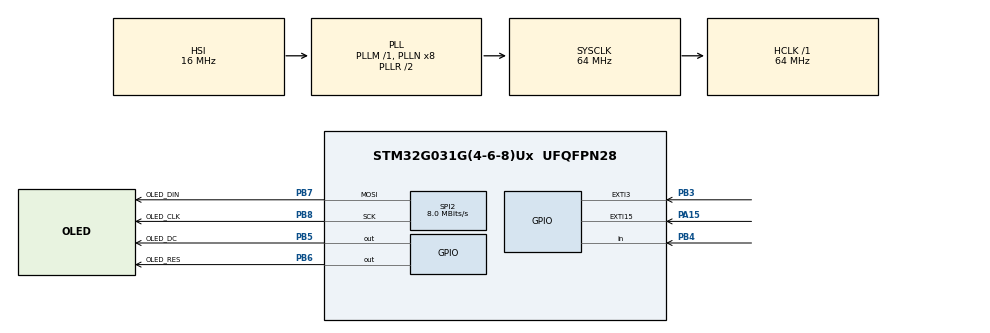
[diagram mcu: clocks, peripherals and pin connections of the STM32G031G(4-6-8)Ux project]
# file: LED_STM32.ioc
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Mcu.Family=STM32G0
Mcu.Name=STM32G031G(4-6-8)Ux
Mcu.Package=UFQFPN28
NVIC.EXTI2_3_IRQn=true\:0\:0\:false\:false\:true\:true\:true\:true
NVIC.EXTI4_15_IRQn=true\:0\:0\:false\:false\:true\:true\:true\:true
NVIC.TIM16_IRQn=true\:0\:0\:false\:false\:true\:true\:true\:true
PA15.GPIO_ModeDefaultEXTI=GPIO_MODE_IT_FALLING
PA15.GPIO_PuPd=GPIO_NOPULL
PA15.Signal=GPXTI15
PB3.GPIO_ModeDefaultEXTI=GPIO_MODE_IT_FALLING
PB3.GPIO_PuPd=GPIO_NOPULL
PB3.Signal=GPXTI3
PB4.GPIO_PuPd=GPIO_NOPULL
PB4.Signal=GPIO_Input
PB5.GPIO_Label=OLED_DC
PB5.Signal=GPIO_Output
PB6.GPIO_Label=OLED_RES
PB6.Signal=GPIO_Output
PB7.GPIO_Label=OLED_DIN
PB7.Mode=TX_Only_Simplex_Unidirect_Master
PB7.Signal=SPI2_MOSI
PB8.GPIO_Label=OLED_CLK
PB8.Mode=TX_Only_Simplex_Unidirect_Master
PB8.Signal=SPI2_SCK
ProjectManager.HeapSize=0x200
ProjectManager.StackSize=0x400
ProjectManager.TargetToolchain=STM32CubeIDE
RCC.ADCFreq_Value=64000000
RCC.AHBFreq_Value=64000000
RCC.CortexFreq_Value=64000000
RCC.EXTERNAL_CLOCK_VALUE=12288000
RCC.HCLKFreq_Value=64000000
RCC.HSE_VALUE=8000000
RCC.HSI_VALUE=16000000
RCC.LSE_VALUE=32768
RCC.SYSCLKFreq_VALUE=64000000
RCC.SYSCLKSource=RCC_SYSCLKSOURCE_PLLCLK
RCC.VCOOutputFreq_Value=128000000
SPI2.BaudRatePrescaler=SPI_BAUDRATEPRESCALER_8
SPI2.CalculateBaudRate=8.0 MBits/s
SPI2.Direction=SPI_DIRECTION_2LINES
SPI2.Mode=SPI_MODE_MASTER
SPI2.VirtualType=VM_MASTER
TIM16.Period=9
TIM16.Prescaler=63
VP_TIM16_VS_ClockSourceINT.Mode=Enable_Timer
board=custom

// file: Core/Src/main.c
/* USER CODE BEGIN Header */
/**
  ******************************************************************************
  * @file           : main.c
  * @brief          : Main program body
  ******************************************************************************
  * @attention
  *
  * Copyright (c) 2025 STMicroelectronics.
  * All rights reserved.
  *
  * This software is licensed under terms that can be found in the LICENSE file
  * in the root directory of this software component.
  * If no LICENSE file comes with this software, it is provided AS-IS.
  *
  ******************************************************************************
  */
/* USER CODE END Header */
#include "main.h"

/* USER CODE BEGIN Includes */
#include "u8g2_stm32.h"
#include <math.h>
#include <stdio.h>
/* USER CODE END Includes */

/* USER CODE BEGIN PD */
// 定义绘图区域的边界
#define GRAPH_X_START 15  // Y轴标签占了左边一些空间
#define GRAPH_Y_START 15  // 状态栏占了顶部一些空间
#define GRAPH_WIDTH   110 // 图表宽度
#define GRAPH_HEIGHT  100 // 图表高度
#define GRAPH_Y_END   (GRAPH_Y_START + GRAPH_HEIGHT)
/* USER CODE END PD */

SPI_HandleTypeDef hspi2;

TIM_HandleTypeDef htim16;

/* USER CODE BEGIN PV */

// volatile 关键字是必须的，因为它会在中断和主循环中同时被访问
volatile int32_t encoder_counter = 0;
volatile uint8_t button_pressed = 0;
volatile int32_t data_offset = 0;
volatile uint32_t button_press_time = 0;

// 定义显示模式
typedef enum {
    DISPLAY_HEART_RATE,
    DISPLAY_TEMPERATURE
} DisplayMode;

DisplayMode current_mode = DISPLAY_HEART_RATE;
int zoom_level = 1; // 缩放级别，1为不缩放

// 定义编码器控制模式
typedef enum {
    MODE_ZOOM,
    MODE_PAN
} ControlMode;

volatile ControlMode control_mode = MODE_ZOOM; // 默认是缩放模式
volatile uint8_t long_press_detected = 0;

//暂时没有真实数据，我们先创建一些模拟数据来绘制。
#define WAVEFORM_LENGTH 128
uint8_t mock_heart_rate_data[WAVEFORM_LENGTH];
uint8_t mock_temp_data[WAVEFORM_LENGTH];

/* USER CODE END PV */

void SystemClock_Config(void);
static void MX_GPIO_Init(void);
static void MX_TIM16_Init(void);
static void MX_SPI2_Init(void);
/* USER CODE BEGIN PFP */
void draw_waveform(u8g2_t* u8g2, uint8_t* data, const char* title, int zoom, DisplayMode mode);
/* USER CODE END PFP */

int main(void)
{

  /* MCU Configuration--------------------------------------------------------*/

  /* Reset of all peripherals, Initializes the Flash interface and the Systick. */
  HAL_Init();

  /* Configure the system clock */
  SystemClock_Config();

  /* Initialize all configured peripherals */
  MX_GPIO_Init();
  MX_TIM16_Init();
  MX_SPI2_Init();
  /* USER CODE BEGIN 2 */
  HAL_TIM_Base_Start_IT(&htim16); // 启动TIM16的更新中断
  u8g2_Init(&u8g2); // 初始化u8g2

  // 生成模拟心率波形 (类似正弦波)
for(int i=0; i<WAVEFORM_LENGTH; i++) {
    mock_heart_rate_data[i] = 32 + 20 * sin(i * 3.14159 * 4 / WAVEFORM_LENGTH);
}
// 生成模拟温度曲线 (缓慢上升)
for(int i=0; i<WAVEFORM_LENGTH; i++) {
    mock_temp_data[i] = 20 + (i / 8);
}
  /* USER CODE END 2 */

  /* Infinite loop */
  while (1)
  {
  // --- 处理输入 ---
  if (button_pressed) {
      // 等待一小段时间，看看按键是否被释放
      HAL_Delay(20); // 简单的延时防抖

      // 如果按键仍然被按着 (低电平)
      if (HAL_GPIO_ReadPin(GPIOB, GPIO_PIN_3) == GPIO_PIN_RESET) {
          // 检查按下时间是否超过长按阈值 (例如 800ms)
          if (HAL_GetTick() - button_press_time > 800) {
              // --- 长按事件 ---
              if (control_mode == MODE_ZOOM) {
                  control_mode = MODE_PAN;
              } else {
                  control_mode = MODE_ZOOM;
              }
              // 等待按键释放
              while(HAL_GPIO_ReadPin(GPIOB, GPIO_PIN_3) == GPIO_PIN_RESET);
              button_pressed = 0; // 处理完毕，清除标志
          }
      } else { // 如果按键已经被释放，说明是短按
          // --- 短按事件 ---
          if (current_mode == DISPLAY_HEART_RATE) {
              current_mode = DISPLAY_TEMPERATURE;
          } else {
              current_mode = DISPLAY_HEART_RATE;
          }
          button_pressed = 0; // 处理完毕，清除标志
      }
  }

  // --- 处理编码器 ---
  static int32_t last_encoder_counter = 0;
  if (encoder_counter != last_encoder_counter) {
      int32_t delta = encoder_counter - last_encoder_counter;

      if (control_mode == MODE_ZOOM) {
          // --- 缩放模式 ---
          zoom_level += delta;
          if (zoom_level < 1) zoom_level = 1;
          if (zoom_level > 8) zoom_level = 8; // 增加最大缩放
        } else {
          // --- 平移模式 ---
          data_offset -= delta * 5; // 乘以一个系数让平移更快
          // *** 关键：更新边界检查 ***
          if (data_offset < 0) data_offset = 0;
          // 缓冲区总长 WAVEFORM_LENGTH，屏幕上显示 GRAPH_WIDTH 个点
          if (data_offset > (WAVEFORM_LENGTH - GRAPH_WIDTH)) data_offset = (WAVEFORM_LENGTH - GRAPH_WIDTH);
      }
      last_encoder_counter = encoder_counter;
  }

  // --- 根据状态更新显示 ---
  if (current_mode == DISPLAY_HEART_RATE) {
      draw_waveform(&u8g2, mock_heart_rate_data, "Heart Rate", zoom_level, current_mode);
  } else {
      draw_waveform(&u8g2, mock_temp_data, "Temperature", zoom_level, current_mode);
  }

  HAL_Delay(50); // 主循环不需要太快，给其他任务留出时间
  }
}

void SystemClock_Config(void)
{
  RCC_OscInitTypeDef RCC_OscInitStruct = {0};
  RCC_ClkInitTypeDef RCC_ClkInitStruct = {0};

  /** Configure the main internal regulator output voltage
  */
  HAL_PWREx_ControlVoltageScaling(PWR_REGULATOR_VOLTAGE_SCALE1);

  /** Initializes the RCC Oscillators according to the specified parameters
  * in the RCC_OscInitTypeDef structure.
  */
  RCC_OscInitStruct.OscillatorType = RCC_OSCILLATORTYPE_HSI;
  RCC_OscInitStruct.HSIState = RCC_HSI_ON;
  RCC_OscInitStruct.HSIDiv = RCC_HSI_DIV1;
  RCC_OscInitStruct.HSICalibrationValue = RCC_HSICALIBRATION_DEFAULT;
  RCC_OscInitStruct.PLL.PLLState = RCC_PLL_ON;
  RCC_OscInitStruct.PLL.PLLSource = RCC_PLLSOURCE_HSI;
  RCC_OscInitStruct.PLL.PLLM = RCC_PLLM_DIV1;
  RCC_OscInitStruct.PLL.PLLN = 8;
  RCC_OscInitStruct.PLL.PLLP = RCC_PLLP_DIV2;
  RCC_OscInitStruct.PLL.PLLQ = RCC_PLLQ_DIV2;
  RCC_OscInitStruct.PLL.PLLR = RCC_PLLR_DIV2;
  if (HAL_RCC_OscConfig(&RCC_OscInitStruct) != HAL_OK)
  {
    Error_Handler();
  }

  /** Initializes the CPU, AHB and APB buses clocks
  */
  RCC_ClkInitStruct.ClockType = RCC_CLOCKTYPE_HCLK|RCC_CLOCKTYPE_SYSCLK
                              |RCC_CLOCKTYPE_PCLK1;
  RCC_ClkInitStruct.SYSCLKSource = RCC_SYSCLKSOURCE_PLLCLK;
  RCC_ClkInitStruct.AHBCLKDivider = RCC_SYSCLK_DIV1;
  RCC_ClkInitStruct.APB1CLKDivider = RCC_HCLK_DIV1;

  if (HAL_RCC_ClockConfig(&RCC_ClkInitStruct, FLASH_LATENCY_2) != HAL_OK)
  {
    Error_Handler();
  }
}

static void MX_SPI2_Init(void)
{

  /* SPI2 parameter configuration*/
  hspi2.Instance = SPI2;
  hspi2.Init.Mode = SPI_MODE_MASTER;
  hspi2.Init.Direction = SPI_DIRECTION_2LINES;
  hspi2.Init.DataSize = SPI_DATASIZE_8BIT;
  hspi2.Init.CLKPolarity = SPI_POLARITY_LOW;
  hspi2.Init.CLKPhase = SPI_PHASE_1EDGE;
  hspi2.Init.NSS = SPI_NSS_SOFT;
  hspi2.Init.BaudRatePrescaler = SPI_BAUDRATEPRESCALER_8;
  hspi2.Init.FirstBit = SPI_FIRSTBIT_MSB;
  hspi2.Init.TIMode = SPI_TIMODE_DISABLE;
  hspi2.Init.CRCCalculation = SPI_CRCCALCULATION_DISABLE;
  hspi2.Init.CRCPolynomial = 7;
  hspi2.Init.CRCLength = SPI_CRC_LENGTH_DATASIZE;
  hspi2.Init.NSSPMode = SPI_NSS_PULSE_ENABLE;
  if (HAL_SPI_Init(&hspi2) != HAL_OK)
  {
    Error_Handler();
  }

}

static void MX_TIM16_Init(void)
{

  htim16.Instance = TIM16;
  htim16.Init.Prescaler = 63;
  htim16.Init.CounterMode = TIM_COUNTERMODE_UP;
  htim16.Init.Period = 9;
  htim16.Init.ClockDivision = TIM_CLOCKDIVISION_DIV1;
  htim16.Init.RepetitionCounter = 0;
  htim16.Init.AutoReloadPreload = TIM_AUTORELOAD_PRELOAD_DISABLE;
  if (HAL_TIM_Base_Init(&htim16) != HAL_OK)
  {
    Error_Handler();
  }

}

static void MX_GPIO_Init(void)
{
  GPIO_InitTypeDef GPIO_InitStruct = {0};

  /* GPIO Ports Clock Enable */
  __HAL_RCC_GPIOA_CLK_ENABLE();
  __HAL_RCC_GPIOB_CLK_ENABLE();

  /*Configure GPIO pin Output Level */
  HAL_GPIO_WritePin(GPIOB, OLED_DC_Pin|OLED_RES_Pin, GPIO_PIN_RESET);

  /*Configure GPIO pin : PA15 */
  GPIO_InitStruct.Pin = GPIO_PIN_15;
  GPIO_InitStruct.Mode = GPIO_MODE_IT_FALLING;
  GPIO_InitStruct.Pull = GPIO_NOPULL;
  HAL_GPIO_Init(GPIOA, &GPIO_InitStruct);

  /*Configure GPIO pin : PB3 */
  GPIO_InitStruct.Pin = GPIO_PIN_3;
  GPIO_InitStruct.Mode = GPIO_MODE_IT_FALLING;
  GPIO_InitStruct.Pull = GPIO_NOPULL;
  HAL_GPIO_Init(GPIOB, &GPIO_InitStruct);

  /*Configure GPIO pin : PB4 */
  GPIO_InitStruct.Pin = GPIO_PIN_4;
  GPIO_InitStruct.Mode = GPIO_MODE_INPUT;
  GPIO_InitStruct.Pull = GPIO_NOPULL;
  HAL_GPIO_Init(GPIOB, &GPIO_InitStruct);

  /*Configure GPIO pins : OLED_DC_Pin OLED_RES_Pin */
  GPIO_InitStruct.Pin = OLED_DC_Pin|OLED_RES_Pin;
  GPIO_InitStruct.Mode = GPIO_MODE_OUTPUT_PP;
  GPIO_InitStruct.Pull = GPIO_NOPULL;
  GPIO_InitStruct.Speed = GPIO_SPEED_FREQ_LOW;
  HAL_GPIO_Init(GPIOB, &GPIO_InitStruct);

  /* EXTI interrupt init*/
  HAL_NVIC_SetPriority(EXTI2_3_IRQn, 0, 0);
  HAL_NVIC_EnableIRQ(EXTI2_3_IRQn);

  HAL_NVIC_SetPriority(EXTI4_15_IRQn, 0, 0);
  HAL_NVIC_EnableIRQ(EXTI4_15_IRQn);

}

/* USER CODE BEGIN 4 */

void draw_waveform(u8g2_t* u8g2, uint8_t* data, const char* title, int zoom, DisplayMode mode)
{
  char buffer[20];

  // 1. 清空缓冲区
  u8g2_ClearBuffer(u8g2);

  // 2. 绘制顶部状态栏 (逻辑不变)
  u8g2_SetFont(u8g2, u8g2_font_ncenB08_tr);
  uint8_t current_raw_value = data[data_offset + GRAPH_WIDTH / 2];
  if (mode == DISPLAY_HEART_RATE) {
      int current_hr = 60 + (current_raw_value / 4);
      sprintf(buffer, "HR: %d bpm", current_hr);
  } else {
      float current_temp = 35.0f + (current_raw_value / 5.0f);
      sprintf(buffer, "Temp: %.1fC", current_temp);
  }
  u8g2_DrawStr(u8g2, 2, 10, buffer);
  if (control_mode == MODE_ZOOM) {
      sprintf(buffer, "Zoom:x%d", zoom);
  } else {
      sprintf(buffer, "Pan:%ld", data_offset);
  }
  u8g2_uint_t str_width = u8g2_GetStrWidth(u8g2, buffer);
  u8g2_DrawStr(u8g2, 127 - str_width, 10, buffer);
  u8g2_DrawHLine(u8g2, 0, 12, 128);

  // 3. 绘制坐标轴框架 (逻辑不变)
  u8g2_DrawVLine(u8g2, GRAPH_X_START, GRAPH_Y_START, GRAPH_HEIGHT);
  u8g2_DrawHLine(u8g2, GRAPH_X_START, GRAPH_Y_END, GRAPH_WIDTH);

  // ====================================================================
  // 【核心修改】围绕动态中心点进行缩放
  // ====================================================================
  float y_max, y_mid, y_min;
  float dynamic_center; // <<< NEW: 定义动态中心变量

  // <<< NEW: 获取屏幕中心点对应的原始数据值
  uint8_t raw_center_value = data[data_offset + GRAPH_WIDTH / 2];

  if (mode == DISPLAY_HEART_RATE) {
    const float base_min = 60.0f;
    const float base_max = 120.0f;

    // <<< MODIFIED: 计算动态中心点的真实物理值
    dynamic_center = 60.0f + (raw_center_value / 4.0f);

    float span = (base_max - base_min) / zoom; // 新的跨度

    // <<< MODIFIED: 围绕动态中心点计算Y轴范围
    y_max = dynamic_center + span / 2.0f;
    y_min = dynamic_center - span / 2.0f;
    y_mid = dynamic_center;

    // 绘制动态标签
    u8g2_SetFont(u8g2, u8g2_font_t0_11_tr);
    sprintf(buffer, "%.0f", y_max); u8g2_DrawStr(u8g2, 0, GRAPH_Y_START + 5, buffer);
    sprintf(buffer, "%.0f", y_mid); u8g2_DrawStr(u8g2, 0, GRAPH_Y_START + GRAPH_HEIGHT / 2, buffer);
    sprintf(buffer, "%.0f", y_min); u8g2_DrawStr(u8g2, 0, GRAPH_Y_END, buffer);
  } else { // DISPLAY_TEMPERATURE
    const float base_min = 35.0f;
    const float base_max = 42.0f;

    // <<< MODIFIED: 计算动态中心点的真实物理值
    dynamic_center = 35.0f + (raw_center_value / 5.0f);

    float span = (base_max - base_min) / zoom;

    // <<< MODIFIED: 围绕动态中心点计算Y轴范围
    y_max = dynamic_center + span / 2.0f;
    y_min = dynamic_center - span / 2.0f;
    y_mid = dynamic_center;

    // 绘制动态标签
    u8g2_SetFont(u8g2, u8g2_font_t0_11_tr);
    sprintf(buffer, "%.1f", y_max); u8g2_DrawStr(u8g2, 0, GRAPH_Y_START + 5, buffer);
    sprintf(buffer, "%.1f", y_mid); u8g2_DrawStr(u8g2, 0, GRAPH_Y_START + GRAPH_HEIGHT / 2, buffer);
    sprintf(buffer, "%.1f", y_min); u8g2_DrawStr(u8g2, 0, GRAPH_Y_END, buffer);
  }

  // 绘制X轴标签 (逻辑不变)
  u8g2_uint_t label_width = u8g2_GetStrWidth(u8g2, "10s");
  u8g2_DrawStr(u8g2, GRAPH_X_START, 127, "0s");
  u8g2_DrawStr(u8g2, GRAPH_X_START + GRAPH_WIDTH / 2 - 5, 127, "5s");
  u8g2_DrawStr(u8g2, GRAPH_X_START + GRAPH_WIDTH - label_width, 127, "10s");

  // ====================================================================
  // 【核心修改】使用新的动态范围来映射和绘制波形 (带钳位逻辑)
  // ====================================================================
  for (int x = 0; x < GRAPH_WIDTH - 1; x++) {
    // 1. 获取原始数据 (这部分不变)
    // 【修改后】
    uint8_t raw_val1 = data[(x + data_offset) % WAVEFORM_LENGTH];
    uint8_t raw_val2 = data[(x + 1 + data_offset) % WAVEFORM_LENGTH];

    // 2. 将原始数据转换为真实的物理值 (这部分不变)
    float real_val1, real_val2;
    if (mode == DISPLAY_HEART_RATE) {
        real_val1 = 60.0f + (raw_val1 / 4.0f);
        real_val2 = 60.0f + (raw_val2 / 4.0f);
    } else {
        real_val1 = 35.0f + (raw_val1 / 5.0f);
        real_val2 = 35.0f + (raw_val2 / 5.0f);
    }

    // 3. 将真实的物理值映射到屏幕像素Y坐标 (这部分不变)
    float y_span = y_max - y_min;
    if (y_span < 0.001f) y_span = 0.001f; // 防止除以零

    int y1 = GRAPH_Y_END - (int)((real_val1 - y_min) * GRAPH_HEIGHT / y_span);
    int y2 = GRAPH_Y_END - (int)((real_val2 - y_min) * GRAPH_HEIGHT / y_span);

    // ====================================================================
    // 【新增部分】坐标钳位 (Clamping)
    // ====================================================================
    // 强制将y1和y2限制在图形区域内
    if (y1 < GRAPH_Y_START) y1 = GRAPH_Y_START;
    if (y1 > GRAPH_Y_END)   y1 = GRAPH_Y_END;
    if (y2 < GRAPH_Y_START) y2 = GRAPH_Y_START;
    if (y2 > GRAPH_Y_END)   y2 = GRAPH_Y_END;
    // ====================================================================

    // 4. 绘制线段 (现在是安全的)
    u8g2_DrawLine(u8g2, GRAPH_X_START + x, y1, GRAPH_X_START + x + 1, y2);
  }

  // 5. 将缓冲区内容发送到屏幕 (这部分不变)
  u8g2_SendBuffer(u8g2);
}

/* USER CODE END 4 */

void Error_Handler(void)
{
  __disable_irq();
  while (1)
  {
  }
}
